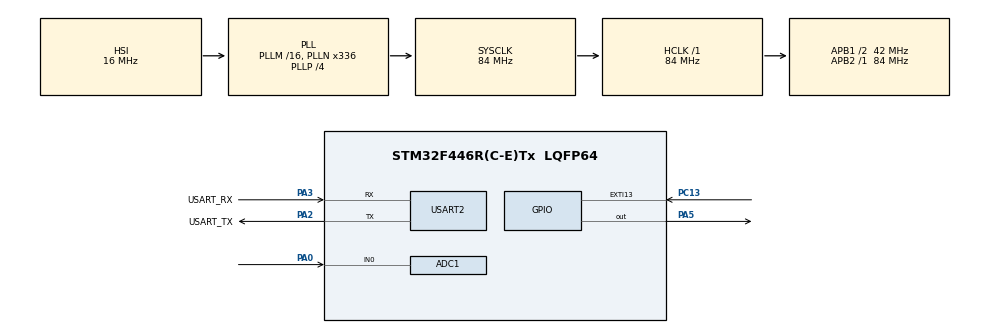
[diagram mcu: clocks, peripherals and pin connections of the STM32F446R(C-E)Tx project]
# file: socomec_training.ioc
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ADC1.Channel-0\#ChannelRegularConversion=ADC_CHANNEL_0
ADC1.DMAContinuousRequests=ENABLE
ADC1.ExternalTrigConv=ADC_EXTERNALTRIGCONV_T2_TRGO
ADC1.NbrOfConversionFlag=1
ADC1.Rank-0\#ChannelRegularConversion=1
ADC1.SamplingTime-0\#ChannelRegularConversion=ADC_SAMPLETIME_3CYCLES
ADC1.master=1
Dma.ADC1.0.Direction=DMA_PERIPH_TO_MEMORY
Dma.ADC1.0.FIFOMode=DMA_FIFOMODE_DISABLE
Dma.ADC1.0.Instance=DMA2_Stream0
Dma.ADC1.0.MemDataAlignment=DMA_MDATAALIGN_HALFWORD
Dma.ADC1.0.MemInc=DMA_MINC_ENABLE
Dma.ADC1.0.Mode=DMA_CIRCULAR
Dma.ADC1.0.PeriphDataAlignment=DMA_PDATAALIGN_HALFWORD
Dma.ADC1.0.PeriphInc=DMA_PINC_DISABLE
Dma.ADC1.0.Priority=DMA_PRIORITY_LOW
Dma.Request0=ADC1
FREERTOS.Queues01=measurementQueue,5,MeasurementData_t,0,Dynamic,NULL,NULL
FREERTOS.Tasks01=measurementTask,24,512,StartMeasurementTask,Default,NULL,Dynamic,NULL,NULL;uartTask,16,512,StartUartTask,Default,NULL,Dynamic,NULL,NULL
FREERTOS.configUSE_NEWLIB_REENTRANT=1
Mcu.Family=STM32F4
Mcu.Name=STM32F446R(C-E)Tx
Mcu.Package=LQFP64
NUCLEO-F446RE.BUTTON=1
NUCLEO-F446RE.LD1=true
NVIC.DMA2_Stream0_IRQn=true\:5\:0\:false\:false\:true\:true\:false\:true\:true
NVIC.PriorityGroup=NVIC_PRIORITYGROUP_4
NVIC.TIM6_DAC_IRQn=true\:15\:0\:false\:false\:true\:false\:false\:true\:true
NVIC.TimeBase=TIM6_DAC_IRQn
NVIC.TimeBaseIP=TIM6
PA0-WKUP.Signal=ADCx_IN0
PA13.GPIO_Label=TMS
PA13.Signal=SYS_JTMS-SWDIO
PA14.GPIO_Label=TCK
PA14.Signal=SYS_JTCK-SWCLK
PA2.GPIO_Label=USART_TX
PA2.Mode=Asynchronous
PA2.Signal=USART2_TX
PA3.GPIO_Label=USART_RX
PA3.Mode=Asynchronous
PA3.Signal=USART2_RX
PA5.Signal=GPIO_Output
PB3.GPIO_Label=SWO
PB3.Signal=SYS_JTDO-SWO
PC13.Signal=GPXTI13
PC14-OSC32_IN.Signal=RCC_OSC32_IN
PC15-OSC32_OUT.Signal=RCC_OSC32_OUT
PH0-OSC_IN.Signal=RCC_OSC_IN
PH1-OSC_OUT.Signal=RCC_OSC_OUT
ProjectManager.HeapSize=0x200
ProjectManager.StackSize=0x400
ProjectManager.TargetToolchain=STM32CubeIDE
RCC.AHBFreq_Value=84000000
RCC.APB1CLKDivider=RCC_HCLK_DIV2
RCC.APB1Freq_Value=42000000
RCC.APB1TimFreq_Value=84000000
RCC.APB2Freq_Value=84000000
RCC.APB2TimFreq_Value=84000000
RCC.CortexFreq_Value=84000000
RCC.FLatency-AdvancedSettings=FLASH_LATENCY_2
RCC.HCLKFreq_Value=84000000
RCC.HSE_VALUE=8000000
RCC.HSI_VALUE=16000000
RCC.LSE_VALUE=32768
RCC.PLLN=336
RCC.PLLP=RCC_PLLP_DIV4
RCC.SYSCLKFreq_VALUE=84000000
RCC.SYSCLKSource=RCC_SYSCLKSOURCE_PLLCLK
RCC.USBFreq_Value=168000000
RCC.VCOOutputFreq_Value=336000000
SH.ADCx_IN0.0=ADC1_IN0,IN0
TIM2.Period=999
TIM2.Prescaler=83
TIM2.TIM_MasterOutputTrigger=TIM_TRGO_UPDATE
USART2.VirtualMode=VM_ASYNC
VP_FREERTOS_VS_CMSIS_V2.Mode=CMSIS_V2
VP_NUCLEO-F446RE_VS_BSP_COMMON.Mode=COMMON
VP_SYS_VS_tim6.Mode=TIM6
VP_TIM2_VS_ClockSourceINT.Mode=Internal
board=NUCLEO-F446RE

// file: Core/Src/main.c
/* USER CODE BEGIN Header */
/**
  ******************************************************************************
  * @file           : main.c
  * @brief          : Main program body
  ******************************************************************************
  * @attention
  *
  * Copyright (c) 2026 STMicroelectronics.
  * All rights reserved.
  *
  * This software is licensed under terms that can be found in the LICENSE file
  * in the root directory of this software component.
  * If no LICENSE file comes with this software, it is provided AS-IS.
  *
  * A simple electrical counter.
  ******************************************************************************
  */
/* USER CODE END Header */
#include "main.h"
#include "cmsis_os.h"

/* USER CODE BEGIN Includes */
#include <stdio.h>
#include <string.h>
#include "measurement.h"
/* USER CODE END Includes */

/* USER CODE BEGIN PD */
#define ADC_BUFFER_READY_FLAG (1U << 0)
/* USER CODE END PD */

ADC_HandleTypeDef hadc1;
DMA_HandleTypeDef hdma_adc1;

TIM_HandleTypeDef htim2;

UART_HandleTypeDef huart2;

/* Definitions for measurementTask */
osThreadId_t measurementTaskHandle;
const osThreadAttr_t measurementTask_attributes = {
  .name = "measurementTask",
  .stack_size = 512 * 4,
  .priority = (osPriority_t) osPriorityNormal,
};
/* Definitions for uartTask */
osThreadId_t uartTaskHandle;
const osThreadAttr_t uartTask_attributes = {
  .name = "uartTask",
  .stack_size = 512 * 4,
  .priority = (osPriority_t) osPriorityBelowNormal,
};
/* Definitions for measurementQueue */
osMessageQueueId_t measurementQueueHandle;
const osMessageQueueAttr_t measurementQueue_attributes = {
  .name = "measurementQueue"
};
/* USER CODE BEGIN PV */
/*
 * ACS712-5A measurement parameters
 *
 * ACS712 zero-current voltage measured experimentally:
 *      V0 = 2.61 V
 *
 * Nominal ACS712-5A sensitivity:
 *      S = 185 mV/A = 0.185 V/A
 *
 * Voltage divider:
 *      V_ADC = 0.8 * V_ACS712
 */
#define ADC_BUFFER_SIZE 100

#define ADC_VREF               3.3f
#define ADC_MAX_VALUE          4095.0f
#define VOLTAGE_DIVIDER_RATIO  0.8f
#define ACS712_ZERO_VOLTAGE    2.61f
#define ACS712_SENSITIVITY     0.185f

uint16_t adc_buffer[ADC_BUFFER_SIZE];

volatile uint8_t adc_buffer_ready = 0;

/* USER CODE END PV */

void SystemClock_Config(void);
static void MX_GPIO_Init(void);
static void MX_DMA_Init(void);
static void MX_ADC1_Init(void);
static void MX_USART2_UART_Init(void);
static void MX_TIM2_Init(void);
void StartMeasurementTask(void *argument);
void StartUartTask(void *argument);

int main(void)
{

  /* MCU Configuration--------------------------------------------------------*/

  /* Reset of all peripherals, Initializes the Flash interface and the Systick. */
  HAL_Init();

  /* Configure the system clock */
  SystemClock_Config();

  /* Initialize all configured peripherals */
  MX_GPIO_Init();
  MX_DMA_Init();
  MX_ADC1_Init();
  MX_USART2_UART_Init();
  MX_TIM2_Init();
  /* USER CODE BEGIN 2 */
  HAL_ADC_Start_DMA(&hadc1, (uint32_t *)adc_buffer, ADC_BUFFER_SIZE);

  HAL_TIM_Base_Start(&htim2);

  /* USER CODE END 2 */

  /* Init scheduler */
  osKernelInitialize();

  /* Create the queue(s) */
  /* creation of measurementQueue */
  measurementQueueHandle = osMessageQueueNew (5, sizeof(MeasurementData_t), &measurementQueue_attributes);

  /* Create the thread(s) */
  /* creation of measurementTask */
  measurementTaskHandle = osThreadNew(StartMeasurementTask, NULL, &measurementTask_attributes);

  /* creation of uartTask */
  uartTaskHandle = osThreadNew(StartUartTask, NULL, &uartTask_attributes);

  /* Initialize leds */
  BSP_LED_Init(LED2);

  /* Initialize USER push-button, will be used to trigger an interrupt each time it's pressed.*/
  BSP_PB_Init(BUTTON_USER, BUTTON_MODE_EXTI);

  /* Start scheduler */
  osKernelStart();

  /* We should never get here as control is now taken by the scheduler */

  /* Infinite loop */
  while (1)
  {

  }
}

void SystemClock_Config(void)
{
  RCC_OscInitTypeDef RCC_OscInitStruct = {0};
  RCC_ClkInitTypeDef RCC_ClkInitStruct = {0};

  /** Configure the main internal regulator output voltage
  */
  __HAL_RCC_PWR_CLK_ENABLE();
  __HAL_PWR_VOLTAGESCALING_CONFIG(PWR_REGULATOR_VOLTAGE_SCALE3);

  /** Initializes the RCC Oscillators according to the specified parameters
  * in the RCC_OscInitTypeDef structure.
  */
  RCC_OscInitStruct.OscillatorType = RCC_OSCILLATORTYPE_HSI;
  RCC_OscInitStruct.HSIState = RCC_HSI_ON;
  RCC_OscInitStruct.HSICalibrationValue = RCC_HSICALIBRATION_DEFAULT;
  RCC_OscInitStruct.PLL.PLLState = RCC_PLL_ON;
  RCC_OscInitStruct.PLL.PLLSource = RCC_PLLSOURCE_HSI;
  RCC_OscInitStruct.PLL.PLLM = 16;
  RCC_OscInitStruct.PLL.PLLN = 336;
  RCC_OscInitStruct.PLL.PLLP = RCC_PLLP_DIV4;
  RCC_OscInitStruct.PLL.PLLQ = 2;
  RCC_OscInitStruct.PLL.PLLR = 2;
  if (HAL_RCC_OscConfig(&RCC_OscInitStruct) != HAL_OK)
  {
    Error_Handler();
  }

  /** Initializes the CPU, AHB and APB buses clocks
  */
  RCC_ClkInitStruct.ClockType = RCC_CLOCKTYPE_HCLK|RCC_CLOCKTYPE_SYSCLK
                              |RCC_CLOCKTYPE_PCLK1|RCC_CLOCKTYPE_PCLK2;
  RCC_ClkInitStruct.SYSCLKSource = RCC_SYSCLKSOURCE_PLLCLK;
  RCC_ClkInitStruct.AHBCLKDivider = RCC_SYSCLK_DIV1;
  RCC_ClkInitStruct.APB1CLKDivider = RCC_HCLK_DIV2;
  RCC_ClkInitStruct.APB2CLKDivider = RCC_HCLK_DIV1;

  if (HAL_RCC_ClockConfig(&RCC_ClkInitStruct, FLASH_LATENCY_2) != HAL_OK)
  {
    Error_Handler();
  }
}

static void MX_ADC1_Init(void)
{

  ADC_ChannelConfTypeDef sConfig = {0};

  /** Configure the global features of the ADC (Clock, Resolution, Data Alignment and number of conversion)
  */
  hadc1.Instance = ADC1;
  hadc1.Init.ClockPrescaler = ADC_CLOCK_SYNC_PCLK_DIV4;
  hadc1.Init.Resolution = ADC_RESOLUTION_12B;
  hadc1.Init.ScanConvMode = DISABLE;
  hadc1.Init.ContinuousConvMode = DISABLE;
  hadc1.Init.DiscontinuousConvMode = DISABLE;
  hadc1.Init.ExternalTrigConvEdge = ADC_EXTERNALTRIGCONVEDGE_RISING;
  hadc1.Init.ExternalTrigConv = ADC_EXTERNALTRIGCONV_T2_TRGO;
  hadc1.Init.DataAlign = ADC_DATAALIGN_RIGHT;
  hadc1.Init.NbrOfConversion = 1;
  hadc1.Init.DMAContinuousRequests = ENABLE;
  hadc1.Init.EOCSelection = ADC_EOC_SINGLE_CONV;
  if (HAL_ADC_Init(&hadc1) != HAL_OK)
  {
    Error_Handler();
  }

  /** Configure for the selected ADC regular channel its corresponding rank in the sequencer and its sample time.
  */
  sConfig.Channel = ADC_CHANNEL_0;
  sConfig.Rank = 1;
  sConfig.SamplingTime = ADC_SAMPLETIME_3CYCLES;
  if (HAL_ADC_ConfigChannel(&hadc1, &sConfig) != HAL_OK)
  {
    Error_Handler();
  }

}

static void MX_TIM2_Init(void)
{

  TIM_ClockConfigTypeDef sClockSourceConfig = {0};
  TIM_MasterConfigTypeDef sMasterConfig = {0};

  htim2.Instance = TIM2;
  htim2.Init.Prescaler = 83;
  htim2.Init.CounterMode = TIM_COUNTERMODE_UP;
  htim2.Init.Period = 999;
  htim2.Init.ClockDivision = TIM_CLOCKDIVISION_DIV1;
  htim2.Init.AutoReloadPreload = TIM_AUTORELOAD_PRELOAD_DISABLE;
  if (HAL_TIM_Base_Init(&htim2) != HAL_OK)
  {
    Error_Handler();
  }
  sClockSourceConfig.ClockSource = TIM_CLOCKSOURCE_INTERNAL;
  if (HAL_TIM_ConfigClockSource(&htim2, &sClockSourceConfig) != HAL_OK)
  {
    Error_Handler();
  }
  sMasterConfig.MasterOutputTrigger = TIM_TRGO_UPDATE;
  sMasterConfig.MasterSlaveMode = TIM_MASTERSLAVEMODE_DISABLE;
  if (HAL_TIMEx_MasterConfigSynchronization(&htim2, &sMasterConfig) != HAL_OK)
  {
    Error_Handler();
  }

}

static void MX_USART2_UART_Init(void)
{

  huart2.Instance = USART2;
  huart2.Init.BaudRate = 115200;
  huart2.Init.WordLength = UART_WORDLENGTH_8B;
  huart2.Init.StopBits = UART_STOPBITS_1;
  huart2.Init.Parity = UART_PARITY_NONE;
  huart2.Init.Mode = UART_MODE_TX_RX;
  huart2.Init.HwFlowCtl = UART_HWCONTROL_NONE;
  huart2.Init.OverSampling = UART_OVERSAMPLING_16;
  if (HAL_UART_Init(&huart2) != HAL_OK)
  {
    Error_Handler();
  }

}

static void MX_DMA_Init(void)
{

  /* DMA controller clock enable */
  __HAL_RCC_DMA2_CLK_ENABLE();

  /* DMA interrupt init */
  /* DMA2_Stream0_IRQn interrupt configuration */
  HAL_NVIC_SetPriority(DMA2_Stream0_IRQn, 5, 0);
  HAL_NVIC_EnableIRQ(DMA2_Stream0_IRQn);

}

static void MX_GPIO_Init(void)
{

  /* GPIO Ports Clock Enable */
  __HAL_RCC_GPIOC_CLK_ENABLE();
  __HAL_RCC_GPIOH_CLK_ENABLE();
  __HAL_RCC_GPIOA_CLK_ENABLE();
  __HAL_RCC_GPIOB_CLK_ENABLE();

}

/* USER CODE BEGIN 4 */
void HAL_ADC_ConvCpltCallback(ADC_HandleTypeDef *hadc)
{
    if (hadc->Instance == ADC1)
    {
//        adc_buffer_ready = 1;
    	osThreadFlagsSet(measurementTaskHandle,
    	                 ADC_BUFFER_READY_FLAG);
    }
}
/* USER CODE END 4 */

void StartMeasurementTask(void *argument)
{
  /* USER CODE BEGIN 5 */
  /* Infinite loop */
  for(;;)
  {
	  osThreadFlagsWait(ADC_BUFFER_READY_FLAG, osFlagsWaitAny, osWaitForever);
	  // Debug
	  HAL_GPIO_TogglePin(GPIOA, GPIO_PIN_5);
	  /* Calcul de la moyenne ADC */
	  uint32_t sum = 0;
	  for (uint32_t i = 0; i < ADC_BUFFER_SIZE; i++)
	  {
		  sum += adc_buffer[i];
	  }
	  float adc_average = (float)sum / ADC_BUFFER_SIZE;
	  /* Conversion ADC -> tension */
	  float adc_voltage = (adc_average * ADC_VREF) / ADC_MAX_VALUE;
	  /* Correction du pont diviseur */
	  float sensor_voltage = adc_voltage / VOLTAGE_DIVIDER_RATIO;
	  /* Conversion tension -> courant */
	  float current = (sensor_voltage - ACS712_ZERO_VOLTAGE) / ACS712_SENSITIVITY;

      MeasurementData_t data;
      data.adc_average    = adc_average;
      data.adc_voltage    = adc_voltage;
      data.sensor_voltage = sensor_voltage;
      data.current        = current;
      osMessageQueuePut(measurementQueueHandle, &data, 0, 0);

	  // To measure the remaining task of the task
//	  static uint32_t count = 0;
//	  count++;
//	  if (count >= 20)
//	  {
//	      count = 0;
//	      UBaseType_t stackRemaining = uxTaskGetStackHighWaterMark(NULL);
//	      char stackMsg[64];
//	      snprintf(stackMsg, sizeof(stackMsg), "Stack minimum remaining = %lu words\r\n", (unsigned long)stackRemaining);
//	      HAL_UART_Transmit(&huart2, (uint8_t *)stackMsg, strlen(stackMsg), 100);
//	  }
  }
  /* USER CODE END 5 */
}

void StartUartTask(void *argument)
{
  /* USER CODE BEGIN StartUartTask */
  /* Infinite loop */
  for(;;)
  {
	  MeasurementData_t data;
	  char msg[150];
	  for (;;)
	  {
		  osMessageQueueGet(measurementQueueHandle, &data, NULL, osWaitForever);
		  snprintf(msg, sizeof(msg),
				   "ADCavg=%.1f | Vadc=%.3f V | "
				   "Vsensor=%.3f V | I=%+.3f A\r\n",
				   data.adc_average, data.adc_voltage, data.sensor_voltage, data.current);
		  HAL_UART_Transmit(&huart2, (uint8_t *)msg, strlen(msg), 100);
	  }
  }
  /* USER CODE END StartUartTask */
}

void HAL_TIM_PeriodElapsedCallback(TIM_HandleTypeDef *htim)
{
  if (htim->Instance == TIM6)
  {
    HAL_IncTick();
  }
}

void Error_Handler(void)
{
  __disable_irq();
  while (1)
  {
  }
}
